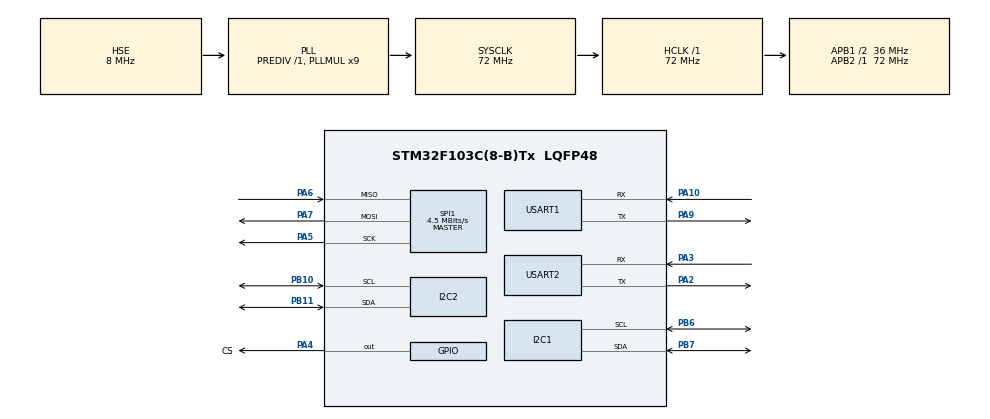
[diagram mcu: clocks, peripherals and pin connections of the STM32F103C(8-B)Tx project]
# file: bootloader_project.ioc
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Dma.Request0=USART1_RX
Dma.Request1=USART1_TX
Dma.Request2=USART2_RX
Dma.Request3=USART2_TX
Dma.USART1_RX.0.Direction=DMA_PERIPH_TO_MEMORY
Dma.USART1_RX.0.Instance=DMA1_Channel5
Dma.USART1_RX.0.MemDataAlignment=DMA_MDATAALIGN_BYTE
Dma.USART1_RX.0.MemInc=DMA_MINC_ENABLE
Dma.USART1_RX.0.Mode=DMA_NORMAL
Dma.USART1_RX.0.PeriphDataAlignment=DMA_PDATAALIGN_BYTE
Dma.USART1_RX.0.PeriphInc=DMA_PINC_DISABLE
Dma.USART1_RX.0.Priority=DMA_PRIORITY_LOW
Dma.USART1_TX.1.Direction=DMA_MEMORY_TO_PERIPH
Dma.USART1_TX.1.Instance=DMA1_Channel4
Dma.USART1_TX.1.MemDataAlignment=DMA_MDATAALIGN_BYTE
Dma.USART1_TX.1.MemInc=DMA_MINC_ENABLE
Dma.USART1_TX.1.Mode=DMA_NORMAL
Dma.USART1_TX.1.PeriphDataAlignment=DMA_PDATAALIGN_BYTE
Dma.USART1_TX.1.PeriphInc=DMA_PINC_DISABLE
Dma.USART1_TX.1.Priority=DMA_PRIORITY_LOW
Dma.USART2_RX.2.Direction=DMA_PERIPH_TO_MEMORY
Dma.USART2_RX.2.Instance=DMA1_Channel6
Dma.USART2_RX.2.MemDataAlignment=DMA_MDATAALIGN_BYTE
Dma.USART2_RX.2.MemInc=DMA_MINC_ENABLE
Dma.USART2_RX.2.Mode=DMA_NORMAL
Dma.USART2_RX.2.PeriphDataAlignment=DMA_PDATAALIGN_BYTE
Dma.USART2_RX.2.PeriphInc=DMA_PINC_DISABLE
Dma.USART2_RX.2.Priority=DMA_PRIORITY_LOW
Dma.USART2_TX.3.Direction=DMA_MEMORY_TO_PERIPH
Dma.USART2_TX.3.Instance=DMA1_Channel7
Dma.USART2_TX.3.MemDataAlignment=DMA_MDATAALIGN_BYTE
Dma.USART2_TX.3.MemInc=DMA_MINC_ENABLE
Dma.USART2_TX.3.Mode=DMA_NORMAL
Dma.USART2_TX.3.PeriphDataAlignment=DMA_PDATAALIGN_BYTE
Dma.USART2_TX.3.PeriphInc=DMA_PINC_DISABLE
Dma.USART2_TX.3.Priority=DMA_PRIORITY_LOW
I2C1.I2C_Mode=I2C_Standard
I2C2.I2C_Mode=I2C_Standard
Mcu.Family=STM32F1
Mcu.Name=STM32F103C(8-B)Tx
Mcu.Package=LQFP48
NVIC.DMA1_Channel4_IRQn=true\:0\:0\:false\:false\:true\:false\:true\:true
NVIC.DMA1_Channel5_IRQn=true\:0\:0\:false\:false\:true\:false\:true\:true
NVIC.DMA1_Channel6_IRQn=true\:0\:0\:false\:false\:true\:false\:true\:true
NVIC.DMA1_Channel7_IRQn=true\:0\:0\:false\:false\:true\:false\:true\:true
NVIC.PriorityGroup=NVIC_PRIORITYGROUP_4
NVIC.USART1_IRQn=true\:0\:0\:false\:false\:true\:true\:true\:true
NVIC.USART2_IRQn=true\:0\:0\:false\:false\:true\:true\:true\:true
PA10.Mode=Asynchronous
PA10.Signal=USART1_RX
PA13.Mode=Serial_Wire
PA13.Signal=SYS_JTMS-SWDIO
PA14.Mode=Serial_Wire
PA14.Signal=SYS_JTCK-SWCLK
PA2.Mode=Asynchronous
PA2.Signal=USART2_TX
PA3.Mode=Asynchronous
PA3.Signal=USART2_RX
PA4.GPIO_Label=CS
PA4.GPIO_PuPd=GPIO_PULLUP
PA4.PinState=GPIO_PIN_SET
PA4.Signal=GPIO_Output
PA5.Mode=Full_Duplex_Master
PA5.Signal=SPI1_SCK
PA6.Mode=Full_Duplex_Master
PA6.Signal=SPI1_MISO
PA7.Mode=Full_Duplex_Master
PA7.Signal=SPI1_MOSI
PA9.Mode=Asynchronous
PA9.Signal=USART1_TX
PB10.Mode=I2C
PB10.Signal=I2C2_SCL
PB11.Mode=I2C
PB11.Signal=I2C2_SDA
PB6.Mode=I2C
PB6.Signal=I2C1_SCL
PB7.Mode=I2C
PB7.Signal=I2C1_SDA
PD0-OSC_IN.Mode=HSE-External-Oscillator
PD0-OSC_IN.Signal=RCC_OSC_IN
PD1-OSC_OUT.Mode=HSE-External-Oscillator
PD1-OSC_OUT.Signal=RCC_OSC_OUT
ProjectManager.HeapSize=0x200
ProjectManager.StackSize=0x400
ProjectManager.TargetToolchain=MDK-ARM V5.32
RCC.AHBFreq_Value=72000000
RCC.APB1CLKDivider=RCC_HCLK_DIV2
RCC.APB1Freq_Value=36000000
RCC.APB1TimFreq_Value=72000000
RCC.APB2Freq_Value=72000000
RCC.APB2TimFreq_Value=72000000
RCC.HCLKFreq_Value=72000000
RCC.PLLMUL=RCC_PLL_MUL9
RCC.PLLSourceVirtual=RCC_PLLSOURCE_HSE
RCC.SYSCLKFreq_VALUE=72000000
RCC.SYSCLKSource=RCC_SYSCLKSOURCE_PLLCLK
RCC.USBFreq_Value=72000000
SPI1.BaudRatePrescaler=SPI_BAUDRATEPRESCALER_16
SPI1.CalculateBaudRate=4.5 MBits/s
SPI1.Direction=SPI_DIRECTION_2LINES
SPI1.Mode=SPI_MODE_MASTER
SPI1.VirtualType=VM_MASTER
USART1.VirtualMode=VM_ASYNC
USART2.VirtualMode=VM_ASYNC
board=custom

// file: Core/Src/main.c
/* USER CODE BEGIN Header */
/**
  ******************************************************************************
  * @file           : main.c
  * @brief          : Main program body
  ******************************************************************************
  * @attention
  *
  * Copyright (c) 2025 STMicroelectronics.
  * All rights reserved.
  *
  * This software is licensed under terms that can be found in the LICENSE file
  * in the root directory of this software component.
  * If no LICENSE file comes with this software, it is provided AS-IS.
  *
  ******************************************************************************
  */
/* USER CODE END Header */
#include "main.h"

/* USER CODE BEGIN Includes */
#include "usart.h"
#include "stdio.h"
#include "oled.h"
#include "font.h"
#include "AT24C02.h"
#include "W25Q64.h"
#include "printf.h"
#include "flash.h"
#include "esp8266.h"
#include "bootloader.h"
#include "My_main.h"
/* USER CODE END Includes */

I2C_HandleTypeDef hi2c1;
I2C_HandleTypeDef hi2c2;

SPI_HandleTypeDef hspi1;

UART_HandleTypeDef huart1;
UART_HandleTypeDef huart2;
DMA_HandleTypeDef hdma_usart1_rx;
DMA_HandleTypeDef hdma_usart1_tx;
DMA_HandleTypeDef hdma_usart2_rx;
DMA_HandleTypeDef hdma_usart2_tx;

void SystemClock_Config(void);
static void MX_GPIO_Init(void);
static void MX_DMA_Init(void);
static void MX_USART1_UART_Init(void);
static void MX_I2C1_Init(void);
static void MX_SPI1_Init(void);
static void MX_I2C2_Init(void);
static void MX_USART2_UART_Init(void);

/* USER CODE BEGIN 0 */

void My_ConnectionCallback(const char *message) {
    MyPrintf("-> [ESP8266] %s\r\n", message);
}

UART_Device uart1_dev;
UART_Device uart2_esp8266;
ESP8266	esp_module;

 void HAL_UARTEx_RxEventCallback(UART_HandleTypeDef *huart, uint16_t Size) {
    if (huart == uart1_dev.huart) {
		uart1_dev.Rx_callback(&uart1_dev, Size);
		__HAL_DMA_DISABLE_IT(&hdma_usart1_rx, DMA_IT_HT);
    }
	if(huart == uart2_esp8266.huart){
		uart2_esp8266.Rx_callback(&uart2_esp8266,Size);
		__HAL_DMA_DISABLE_IT(&hdma_usart2_rx, DMA_IT_HT);
	}
}
/* USER CODE END 0 */

int main(void)
{

  /* MCU Configuration--------------------------------------------------------*/

  /* Reset of all peripherals, Initializes the Flash interface and the Systick. */
  HAL_Init();

  /* Configure the system clock */
  SystemClock_Config();

  /* Initialize all configured peripherals */
  MX_GPIO_Init();
  MX_DMA_Init();
  MX_USART1_UART_Init();
  MX_I2C1_Init();
  MX_SPI1_Init();
  MX_I2C2_Init();
  MX_USART2_UART_Init();
  /* USER CODE BEGIN 2 */
//  uint8_t rx_buf[64];
//  AT24C02 eeprom = AT24C02_Create(&hi2c1,0x50);//(0x50 7位地址代替 0xA0)
//  W25Q64 flash = W25Q64_Create(&hspi1, GPIOA);
//  UART_Device_Init(&uart1_dev, &huart1, &hdma_usart1_rx);
//  UART_Device_Init(&uart2_esp8266, &huart2, &hdma_usart2_rx);
//  ESP8266_Init(&esp_module, &uart2_esp8266, My_ConnectionCallback);
//  esp_module.Wifi_Connect(&esp_module,"505","asdfghjkl");
//  uint8_t x = 0x55;
//  uint8_t data;
//  eeprom.WriteByte(&eeprom,0x00,x);
//  data = eeprom.ReadByte(&eeprom,0x00);
//	uint32_t id_1 = flash.read_id(&flash);
//    MyPrintf("%d\n", id_1);  // 应输出 0xEF4017

    // 写入数据
//    uint8_t tx_data[16] = "Hello, W25Q64!";
//    flash.sector_erase(&flash, 0x000000);
//    flash.page_program(&flash, 0x000000, tx_data, sizeof(tx_data));

//    // 读取数据
//    uint8_t rx_data[16] = {0};
//    flash.read_data(&flash, 0x000000, rx_data, sizeof(rx_data));
//    MyPrintf("Read: %s\r\n", rx_data);
// 擦除 0x08005000 开始的 2 页（每页 1KB）(在写入数据前需要先擦除数据)
//STM32_EraseFlash(0x08005000, 2);
//uint32_t buffer[2] = {0x12345678, 0xAABBCCDD};
//STM32_WriteFlash(0x08005000, buffer, 2);
//uint32_t value = *(uint32_t *)0x08005000;
//uint32_t *flash_ptr = (uint32_t *)0x08005000;
	my_main();
  /* USER CODE END 2 */

  /* Infinite loop */
  /* USER CODE BEGIN WHILE */
  while (1)
{	//uint16_t available = UART_Ring_DataAvaliable();
    //if(available > 0)
   // {
       // uint16_t to_read = (available > sizeof(rx_buf)) ? sizeof(rx_buf) : available;
       // uint16_t actually_read = UART_RING_Read(rx_buf, to_read);

//        if(actually_read > 0)
//        {
//             HAL_UART_Transmit_DMA(&huart1, rx_buf, actually_read);
//        }
//	uint16_t available = uart1_dev.Available(&uart1_dev);
//	if(available>0){
//		uint16_t read_len = uart1_dev.Read(&uart1_dev, rx_buf, sizeof(rx_buf));
//		HAL_UART_Transmit_DMA(&huart1, rx_buf, read_len);
//	}
//	MyPrintf("System Booted!\n");  // 输出字符
	//MyPrintf("Hex value: 0x%x\r\n", value);

//    if(flash_ptr[0] == 0x12345678 && flash_ptr[1] == 0xAABBCCDD) {
//        MyPrintf("Flash write OK!\r\n");
//
//    } else {
//        MyPrintf("Flash write FAILED!\r\n");
//    }
//	MyPrintf("int:%d\n",data);
	//HAL_Delay(500);
//	MyPrintf("hex:%x",data);
    /* USER CODE END WHILE */

}
}

void SystemClock_Config(void)
{
  RCC_OscInitTypeDef RCC_OscInitStruct = {0};
  RCC_ClkInitTypeDef RCC_ClkInitStruct = {0};

  /** Initializes the RCC Oscillators according to the specified parameters
  * in the RCC_OscInitTypeDef structure.
  */
  RCC_OscInitStruct.OscillatorType = RCC_OSCILLATORTYPE_HSE;
  RCC_OscInitStruct.HSEState = RCC_HSE_ON;
  RCC_OscInitStruct.HSEPredivValue = RCC_HSE_PREDIV_DIV1;
  RCC_OscInitStruct.HSIState = RCC_HSI_ON;
  RCC_OscInitStruct.PLL.PLLState = RCC_PLL_ON;
  RCC_OscInitStruct.PLL.PLLSource = RCC_PLLSOURCE_HSE;
  RCC_OscInitStruct.PLL.PLLMUL = RCC_PLL_MUL9;
  if (HAL_RCC_OscConfig(&RCC_OscInitStruct) != HAL_OK)
  {
    Error_Handler();
  }

  /** Initializes the CPU, AHB and APB buses clocks
  */
  RCC_ClkInitStruct.ClockType = RCC_CLOCKTYPE_HCLK|RCC_CLOCKTYPE_SYSCLK
                              |RCC_CLOCKTYPE_PCLK1|RCC_CLOCKTYPE_PCLK2;
  RCC_ClkInitStruct.SYSCLKSource = RCC_SYSCLKSOURCE_PLLCLK;
  RCC_ClkInitStruct.AHBCLKDivider = RCC_SYSCLK_DIV1;
  RCC_ClkInitStruct.APB1CLKDivider = RCC_HCLK_DIV2;
  RCC_ClkInitStruct.APB2CLKDivider = RCC_HCLK_DIV1;

  if (HAL_RCC_ClockConfig(&RCC_ClkInitStruct, FLASH_LATENCY_2) != HAL_OK)
  {
    Error_Handler();
  }
}

static void MX_I2C1_Init(void)
{

  hi2c1.Instance = I2C1;
  hi2c1.Init.ClockSpeed = 100000;
  hi2c1.Init.DutyCycle = I2C_DUTYCYCLE_2;
  hi2c1.Init.OwnAddress1 = 0;
  hi2c1.Init.AddressingMode = I2C_ADDRESSINGMODE_7BIT;
  hi2c1.Init.DualAddressMode = I2C_DUALADDRESS_DISABLE;
  hi2c1.Init.OwnAddress2 = 0;
  hi2c1.Init.GeneralCallMode = I2C_GENERALCALL_DISABLE;
  hi2c1.Init.NoStretchMode = I2C_NOSTRETCH_DISABLE;
  if (HAL_I2C_Init(&hi2c1) != HAL_OK)
  {
    Error_Handler();
  }

}

static void MX_I2C2_Init(void)
{

  hi2c2.Instance = I2C2;
  hi2c2.Init.ClockSpeed = 100000;
  hi2c2.Init.DutyCycle = I2C_DUTYCYCLE_2;
  hi2c2.Init.OwnAddress1 = 0;
  hi2c2.Init.AddressingMode = I2C_ADDRESSINGMODE_7BIT;
  hi2c2.Init.DualAddressMode = I2C_DUALADDRESS_DISABLE;
  hi2c2.Init.OwnAddress2 = 0;
  hi2c2.Init.GeneralCallMode = I2C_GENERALCALL_DISABLE;
  hi2c2.Init.NoStretchMode = I2C_NOSTRETCH_DISABLE;
  if (HAL_I2C_Init(&hi2c2) != HAL_OK)
  {
    Error_Handler();
  }

}

static void MX_SPI1_Init(void)
{

  /* SPI1 parameter configuration*/
  hspi1.Instance = SPI1;
  hspi1.Init.Mode = SPI_MODE_MASTER;
  hspi1.Init.Direction = SPI_DIRECTION_2LINES;
  hspi1.Init.DataSize = SPI_DATASIZE_8BIT;
  hspi1.Init.CLKPolarity = SPI_POLARITY_LOW;
  hspi1.Init.CLKPhase = SPI_PHASE_1EDGE;
  hspi1.Init.NSS = SPI_NSS_SOFT;
  hspi1.Init.BaudRatePrescaler = SPI_BAUDRATEPRESCALER_16;
  hspi1.Init.FirstBit = SPI_FIRSTBIT_MSB;
  hspi1.Init.TIMode = SPI_TIMODE_DISABLE;
  hspi1.Init.CRCCalculation = SPI_CRCCALCULATION_DISABLE;
  hspi1.Init.CRCPolynomial = 10;
  if (HAL_SPI_Init(&hspi1) != HAL_OK)
  {
    Error_Handler();
  }

}

static void MX_USART1_UART_Init(void)
{

  huart1.Instance = USART1;
  huart1.Init.BaudRate = 115200;
  huart1.Init.WordLength = UART_WORDLENGTH_8B;
  huart1.Init.StopBits = UART_STOPBITS_1;
  huart1.Init.Parity = UART_PARITY_NONE;
  huart1.Init.Mode = UART_MODE_TX_RX;
  huart1.Init.HwFlowCtl = UART_HWCONTROL_NONE;
  huart1.Init.OverSampling = UART_OVERSAMPLING_16;
  if (HAL_UART_Init(&huart1) != HAL_OK)
  {
    Error_Handler();
  }

}

static void MX_USART2_UART_Init(void)
{

  huart2.Instance = USART2;
  huart2.Init.BaudRate = 115200;
  huart2.Init.WordLength = UART_WORDLENGTH_8B;
  huart2.Init.StopBits = UART_STOPBITS_1;
  huart2.Init.Parity = UART_PARITY_NONE;
  huart2.Init.Mode = UART_MODE_TX_RX;
  huart2.Init.HwFlowCtl = UART_HWCONTROL_NONE;
  huart2.Init.OverSampling = UART_OVERSAMPLING_16;
  if (HAL_UART_Init(&huart2) != HAL_OK)
  {
    Error_Handler();
  }

}

static void MX_DMA_Init(void)
{

  /* DMA controller clock enable */
  __HAL_RCC_DMA1_CLK_ENABLE();

  /* DMA interrupt init */
  /* DMA1_Channel4_IRQn interrupt configuration */
  HAL_NVIC_SetPriority(DMA1_Channel4_IRQn, 0, 0);
  HAL_NVIC_EnableIRQ(DMA1_Channel4_IRQn);
  /* DMA1_Channel5_IRQn interrupt configuration */
  HAL_NVIC_SetPriority(DMA1_Channel5_IRQn, 0, 0);
  HAL_NVIC_EnableIRQ(DMA1_Channel5_IRQn);
  /* DMA1_Channel6_IRQn interrupt configuration */
  HAL_NVIC_SetPriority(DMA1_Channel6_IRQn, 0, 0);
  HAL_NVIC_EnableIRQ(DMA1_Channel6_IRQn);
  /* DMA1_Channel7_IRQn interrupt configuration */
  HAL_NVIC_SetPriority(DMA1_Channel7_IRQn, 0, 0);
  HAL_NVIC_EnableIRQ(DMA1_Channel7_IRQn);

}

static void MX_GPIO_Init(void)
{
  GPIO_InitTypeDef GPIO_InitStruct = {0};

  /* GPIO Ports Clock Enable */
  __HAL_RCC_GPIOD_CLK_ENABLE();
  __HAL_RCC_GPIOA_CLK_ENABLE();
  __HAL_RCC_GPIOB_CLK_ENABLE();

  /*Configure GPIO pin Output Level */
  HAL_GPIO_WritePin(CS_GPIO_Port, CS_Pin, GPIO_PIN_SET);

  /*Configure GPIO pin : CS_Pin */
  GPIO_InitStruct.Pin = CS_Pin;
  GPIO_InitStruct.Mode = GPIO_MODE_OUTPUT_PP;
  GPIO_InitStruct.Pull = GPIO_PULLUP;
  GPIO_InitStruct.Speed = GPIO_SPEED_FREQ_LOW;
  HAL_GPIO_Init(CS_GPIO_Port, &GPIO_InitStruct);

}

void Error_Handler(void)
{
  __disable_irq();
  while (1)
  {
  }
}
